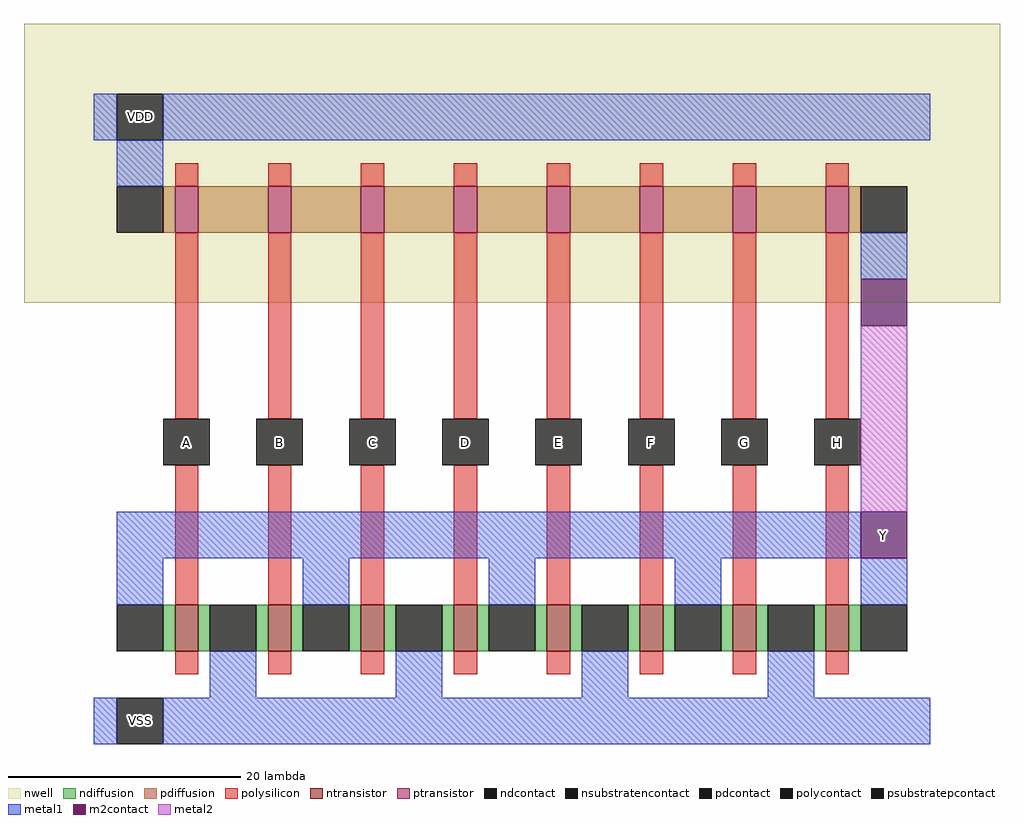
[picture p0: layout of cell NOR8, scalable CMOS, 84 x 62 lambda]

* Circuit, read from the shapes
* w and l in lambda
.subckt NOR8 A B C D E F G H VDD VSS Y
M1 VSS A Y VSS nfet w=4 l=2
M2 Y B VSS VSS nfet w=4 l=2
M3 VSS C Y VSS nfet w=4 l=2
M4 Y D VSS VSS nfet w=4 l=2
M5 VSS E Y VSS nfet w=4 l=2
M6 Y F VSS VSS nfet w=4 l=2
M7 VSS G Y VSS nfet w=4 l=2
M8 Y H VSS VSS nfet w=4 l=2
M9 n1 A VDD VDD pfet w=4 l=2
M10 n2 B n1 VDD pfet w=4 l=2
M11 n3 C n2 VDD pfet w=4 l=2
M12 n4 D n3 VDD pfet w=4 l=2
M13 n5 E n4 VDD pfet w=4 l=2
M14 n6 F n5 VDD pfet w=4 l=2
M15 n7 G n6 VDD pfet w=4 l=2
M16 Y H n7 VDD pfet w=4 l=2
.ends

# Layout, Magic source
magic
tech scmos
<< nwell >>
rect -6 38 78 62
<< ntransistor >>
rect 7 8 9 12
rect 15 8 17 12
rect 23 8 25 12
rect 31 8 33 12
rect 39 8 41 12
rect 47 8 49 12
rect 55 8 57 12
rect 63 8 65 12
<< ptransistor >>
rect 7 44 9 48
rect 15 44 17 48
rect 23 44 25 48
rect 31 44 33 48
rect 39 44 41 48
rect 47 44 49 48
rect 55 44 57 48
rect 63 44 65 48
<< ndiffusion >>
rect 6 8 7 12
rect 9 8 10 12
rect 14 8 15 12
rect 17 8 18 12
rect 22 8 23 12
rect 25 8 26 12
rect 30 8 31 12
rect 33 8 34 12
rect 38 8 39 12
rect 41 8 42 12
rect 46 8 47 12
rect 49 8 50 12
rect 54 8 55 12
rect 57 8 58 12
rect 62 8 63 12
rect 65 8 66 12
<< pdiffusion >>
rect 6 44 7 48
rect 9 44 15 48
rect 17 44 23 48
rect 25 44 31 48
rect 33 44 39 48
rect 41 44 47 48
rect 49 44 55 48
rect 57 44 63 48
rect 65 44 66 48
<< ndcontact >>
rect 2 8 6 12
rect 10 8 14 12
rect 18 8 22 12
rect 26 8 30 12
rect 34 8 38 12
rect 42 8 46 12
rect 50 8 54 12
rect 58 8 62 12
rect 66 8 70 12
<< pdcontact >>
rect 2 44 6 48
rect 66 44 70 48
<< psubstratepcontact >>
rect 2 0 6 4
<< nsubstratencontact >>
rect 2 52 6 56
<< polysilicon >>
rect 7 48 9 50
rect 15 48 17 50
rect 23 48 25 50
rect 31 48 33 50
rect 39 48 41 50
rect 47 48 49 50
rect 55 48 57 50
rect 63 48 65 50
rect 7 28 9 44
rect 15 28 17 44
rect 23 28 25 44
rect 31 28 33 44
rect 39 28 41 44
rect 47 28 49 44
rect 55 28 57 44
rect 63 28 65 44
rect 7 12 9 24
rect 15 12 17 24
rect 23 12 25 24
rect 31 12 33 24
rect 39 12 41 24
rect 47 12 49 24
rect 55 12 57 24
rect 63 12 65 24
rect 7 6 9 8
rect 15 6 17 8
rect 23 6 25 8
rect 31 6 33 8
rect 39 6 41 8
rect 47 6 49 8
rect 55 6 57 8
rect 63 6 65 8
<< polycontact >>
rect 6 24 10 28
rect 14 24 18 28
rect 22 24 26 28
rect 30 24 34 28
rect 38 24 42 28
rect 46 24 50 28
rect 54 24 58 28
rect 62 24 66 28
<< metal1 >>
rect 0 52 2 56
rect 6 52 72 56
rect 2 48 6 52
rect 66 40 70 44
rect 2 16 66 20
rect 2 12 6 16
rect 18 12 22 16
rect 34 12 38 16
rect 50 12 54 16
rect 66 12 70 16
rect 10 4 14 8
rect 26 4 30 8
rect 42 4 46 8
rect 58 4 62 8
rect 0 0 2 4
rect 6 0 72 4
<< m2contact >>
rect 66 36 70 40
rect 66 16 70 20
<< metal2 >>
rect 66 20 70 36
<< labels >>
rlabel nsubstratencontact 4 54 4 54 1 VDD
rlabel psubstratepcontact 4 2 4 2 1 VSS
rlabel polycontact 8 26 8 26 1 A
rlabel polycontact 16 26 16 26 1 B
rlabel polycontact 24 26 24 26 1 C
rlabel polycontact 32 26 32 26 1 D
rlabel polycontact 40 26 40 26 1 E
rlabel polycontact 48 26 48 26 1 F
rlabel polycontact 56 26 56 26 1 G
rlabel polycontact 64 26 64 26 1 H
rlabel m2contact 68 18 68 18 1 Y
<< end >>
